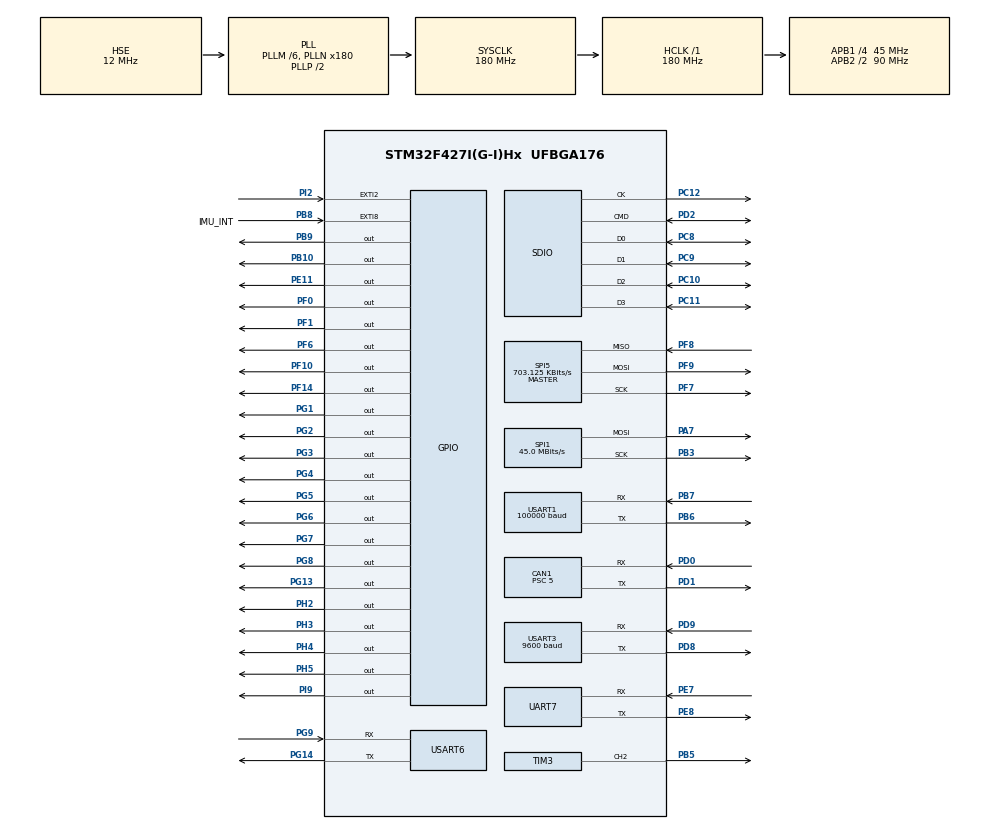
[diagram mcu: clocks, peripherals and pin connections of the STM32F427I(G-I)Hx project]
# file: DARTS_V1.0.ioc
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CAN1.ABOM=ENABLE
CAN1.BS1=CAN_BS1_3TQ
CAN1.BS2=CAN_BS2_5TQ
CAN1.CalculateBaudRate=1000000
CAN1.CalculateTimeBit=1000
CAN1.CalculateTimeQuantum=111.11111111111111
CAN1.Prescaler=5
Dma.Request0=USART1_RX
Dma.Request1=UART7_TX
Dma.Request2=SPI1_TX
Dma.Request3=SPI5_RX
Dma.Request4=SPI5_TX
Dma.SPI1_TX.2.Direction=DMA_MEMORY_TO_PERIPH
Dma.SPI1_TX.2.FIFOMode=DMA_FIFOMODE_DISABLE
Dma.SPI1_TX.2.Instance=DMA2_Stream5
Dma.SPI1_TX.2.MemDataAlignment=DMA_MDATAALIGN_BYTE
Dma.SPI1_TX.2.MemInc=DMA_MINC_ENABLE
Dma.SPI1_TX.2.Mode=DMA_NORMAL
Dma.SPI1_TX.2.PeriphDataAlignment=DMA_PDATAALIGN_BYTE
Dma.SPI1_TX.2.PeriphInc=DMA_PINC_DISABLE
Dma.SPI1_TX.2.Priority=DMA_PRIORITY_VERY_HIGH
Dma.SPI5_RX.3.Direction=DMA_PERIPH_TO_MEMORY
Dma.SPI5_RX.3.FIFOMode=DMA_FIFOMODE_DISABLE
Dma.SPI5_RX.3.Instance=DMA2_Stream3
Dma.SPI5_RX.3.MemDataAlignment=DMA_MDATAALIGN_BYTE
Dma.SPI5_RX.3.MemInc=DMA_MINC_ENABLE
Dma.SPI5_RX.3.Mode=DMA_NORMAL
Dma.SPI5_RX.3.PeriphDataAlignment=DMA_PDATAALIGN_BYTE
Dma.SPI5_RX.3.PeriphInc=DMA_PINC_DISABLE
Dma.SPI5_RX.3.Priority=DMA_PRIORITY_VERY_HIGH
Dma.SPI5_TX.4.Direction=DMA_MEMORY_TO_PERIPH
Dma.SPI5_TX.4.FIFOMode=DMA_FIFOMODE_DISABLE
Dma.SPI5_TX.4.Instance=DMA2_Stream4
Dma.SPI5_TX.4.MemDataAlignment=DMA_MDATAALIGN_BYTE
Dma.SPI5_TX.4.MemInc=DMA_MINC_ENABLE
Dma.SPI5_TX.4.Mode=DMA_NORMAL
Dma.SPI5_TX.4.PeriphDataAlignment=DMA_PDATAALIGN_BYTE
Dma.SPI5_TX.4.PeriphInc=DMA_PINC_DISABLE
Dma.SPI5_TX.4.Priority=DMA_PRIORITY_VERY_HIGH
Dma.UART7_TX.1.Direction=DMA_MEMORY_TO_PERIPH
Dma.UART7_TX.1.FIFOMode=DMA_FIFOMODE_DISABLE
Dma.UART7_TX.1.Instance=DMA1_Stream1
Dma.UART7_TX.1.MemDataAlignment=DMA_MDATAALIGN_BYTE
Dma.UART7_TX.1.MemInc=DMA_MINC_ENABLE
Dma.UART7_TX.1.Mode=DMA_NORMAL
Dma.UART7_TX.1.PeriphDataAlignment=DMA_PDATAALIGN_BYTE
Dma.UART7_TX.1.PeriphInc=DMA_PINC_DISABLE
Dma.UART7_TX.1.Priority=DMA_PRIORITY_VERY_HIGH
Dma.USART1_RX.0.Direction=DMA_PERIPH_TO_MEMORY
Dma.USART1_RX.0.FIFOMode=DMA_FIFOMODE_DISABLE
Dma.USART1_RX.0.Instance=DMA2_Stream2
Dma.USART1_RX.0.MemDataAlignment=DMA_MDATAALIGN_BYTE
Dma.USART1_RX.0.MemInc=DMA_MINC_ENABLE
Dma.USART1_RX.0.Mode=DMA_NORMAL
Dma.USART1_RX.0.PeriphDataAlignment=DMA_PDATAALIGN_BYTE
Dma.USART1_RX.0.PeriphInc=DMA_PINC_DISABLE
Dma.USART1_RX.0.Priority=DMA_PRIORITY_HIGH
FATFS._FS_REENTRANT=0
FATFS._USE_LFN=2
FREERTOS.INCLUDE_eTaskGetState=1
FREERTOS.INCLUDE_pcTaskGetTaskName=1
FREERTOS.INCLUDE_uxTaskGetStackHighWaterMark=1
FREERTOS.INCLUDE_vTaskCleanUpResources=1
FREERTOS.INCLUDE_vTaskDelayUntil=1
FREERTOS.INCLUDE_xQueueGetMutexHolder=1
FREERTOS.INCLUDE_xSemaphoreGetMutexHolder=1
FREERTOS.INCLUDE_xTaskAbortDelay=1
FREERTOS.INCLUDE_xTaskGetCurrentTaskHandle=1
FREERTOS.INCLUDE_xTaskGetHandle=1
FREERTOS.Tasks01=debugTask,0,512,StartdebugTask,As weak,NULL,Dynamic,NULL,NULL;motor_task,-2,512,Startmotor_task,As weak,NULL,Dynamic,NULL,NULL
FREERTOS.configTOTAL_HEAP_SIZE=24576
FREERTOS.configUSE_TIMERS=1
Mcu.Family=STM32F4
Mcu.Name=STM32F427I(G-I)Hx
Mcu.Package=UFBGA176
NVIC.CAN1_RX0_IRQn=true\:5\:0\:false\:false\:true\:true\:true\:true\:true
NVIC.CAN1_TX_IRQn=true\:5\:0\:false\:false\:true\:true\:true\:true\:true
NVIC.DMA1_Stream1_IRQn=true\:5\:0\:false\:false\:true\:true\:false\:true\:true
NVIC.DMA2_Stream2_IRQn=true\:5\:0\:false\:false\:true\:true\:false\:true\:true
NVIC.DMA2_Stream3_IRQn=true\:5\:0\:false\:false\:true\:true\:false\:true\:true
NVIC.DMA2_Stream4_IRQn=true\:5\:0\:false\:false\:true\:true\:false\:true\:true
NVIC.DMA2_Stream5_IRQn=true\:5\:0\:false\:false\:true\:true\:false\:true\:true
NVIC.EXTI2_IRQn=true\:5\:0\:false\:false\:true\:true\:true\:true\:true
NVIC.EXTI9_5_IRQn=true\:5\:0\:false\:false\:true\:true\:true\:true\:true
NVIC.PriorityGroup=NVIC_PRIORITYGROUP_4
NVIC.SDIO_IRQn=true\:5\:0\:false\:false\:true\:true\:true\:true\:true
NVIC.TIM2_IRQn=true\:15\:0\:false\:false\:true\:false\:false\:true\:true
NVIC.TimeBase=TIM2_IRQn
NVIC.TimeBaseIP=TIM2
NVIC.UART7_IRQn=true\:5\:0\:false\:false\:true\:true\:true\:true\:true
NVIC.USART1_IRQn=true\:5\:0\:false\:false\:true\:true\:true\:true\:true
NVIC.USART3_IRQn=true\:5\:0\:false\:false\:true\:true\:true\:true\:true
NVIC.USART6_IRQn=true\:5\:0\:false\:false\:true\:true\:true\:true\:true
PA13.Mode=Serial_Wire
PA13.Signal=SYS_JTMS-SWDIO
PA14.Mode=Serial_Wire
PA14.Signal=SYS_JTCK-SWCLK
PA7.Mode=TX_Only_Simplex_Unidirect_Master
PA7.Signal=SPI1_MOSI
PB10.Signal=GPIO_Output
PB3.Mode=TX_Only_Simplex_Unidirect_Master
PB3.Signal=SPI1_SCK
PB5.GPIO_PuPd=GPIO_PULLUP
PB5.GPIO_Speed=GPIO_SPEED_FREQ_HIGH
PB5.Signal=S_TIM3_CH2
PB6.Mode=Asynchronous
PB6.Signal=USART1_TX
PB7.Mode=Asynchronous
PB7.Signal=USART1_RX
PB8.GPIO_Label=IMU_INT
PB8.Signal=GPXTI8
PB9.Signal=GPIO_Output
PC10.Mode=SD_4_bits_Wide_bus
PC10.Signal=SDIO_D2
PC11.Mode=SD_4_bits_Wide_bus
PC11.Signal=SDIO_D3
PC12.Mode=SD_4_bits_Wide_bus
PC12.Signal=SDIO_CK
PC8.Mode=SD_4_bits_Wide_bus
PC8.Signal=SDIO_D0
PC9.Mode=SD_4_bits_Wide_bus
PC9.Signal=SDIO_D1
PD0.Mode=CAN_Activate
PD0.Signal=CAN1_RX
PD1.Mode=CAN_Activate
PD1.Signal=CAN1_TX
PD2.Mode=SD_4_bits_Wide_bus
PD2.Signal=SDIO_CMD
PD8.Mode=Asynchronous
PD8.Signal=USART3_TX
PD9.Mode=Asynchronous
PD9.Signal=USART3_RX
PE11.Signal=GPIO_Output
PE7.GPIO_PuPd=GPIO_PULLUP
PE7.Mode=Asynchronous
PE7.Signal=UART7_RX
PE8.GPIO_PuPd=GPIO_PULLUP
PE8.Mode=Asynchronous
PE8.Signal=UART7_TX
PF0.Signal=GPIO_Output
PF1.Signal=GPIO_Output
PF10.GPIO_ModeDefaultOutputPP=GPIO_MODE_OUTPUT_OD
PF10.Signal=GPIO_Output
PF14.Signal=GPIO_Output
PF6.Signal=GPIO_Output
PF7.Mode=Full_Duplex_Master
PF7.Signal=SPI5_SCK
PF8.Mode=Full_Duplex_Master
PF8.Signal=SPI5_MISO
PF9.Mode=Full_Duplex_Master
PF9.Signal=SPI5_MOSI
PG1.Signal=GPIO_Output
PG13.PinState=GPIO_PIN_SET
PG13.Signal=GPIO_Output
PG14.Mode=Asynchronous
PG14.Signal=USART6_TX
PG2.Signal=GPIO_Output
PG3.Signal=GPIO_Output
PG4.Signal=GPIO_Output
PG5.Signal=GPIO_Output
PG6.Signal=GPIO_Output
PG7.Signal=GPIO_Output
PG8.Signal=GPIO_Output
PG9.Mode=Asynchronous
PG9.Signal=USART6_RX
PH0/OSC_IN.Mode=HSE-External-Oscillator
PH0/OSC_IN.Signal=RCC_OSC_IN
PH1/OSC_OUT.Mode=HSE-External-Oscillator
PH1/OSC_OUT.Signal=RCC_OSC_OUT
PH2.Signal=GPIO_Output
PH3.Signal=GPIO_Output
PH4.Signal=GPIO_Output
PH5.Signal=GPIO_Output
PI2.GPIO_ModeDefaultEXTI=GPIO_MODE_IT_RISING_FALLING
PI2.GPIO_PuPd=GPIO_PULLUP
PI2.Signal=GPXTI2
PI9.GPIO_ModeDefaultOutputPP=GPIO_MODE_OUTPUT_OD
PI9.Signal=GPIO_Output
ProjectManager.HeapSize=0x200
ProjectManager.StackSize=0x400
ProjectManager.TargetToolchain=MDK-ARM V5.32
RCC.48MHZClocksFreq_Value=45000000
RCC.AHBFreq_Value=180000000
RCC.APB1CLKDivider=RCC_HCLK_DIV4
RCC.APB1Freq_Value=45000000
RCC.APB1TimFreq_Value=90000000
RCC.APB2CLKDivider=RCC_HCLK_DIV2
RCC.APB2Freq_Value=90000000
RCC.APB2TimFreq_Value=180000000
RCC.CortexFreq_Value=180000000
RCC.HCLKFreq_Value=180000000
RCC.HSE_VALUE=12000000
RCC.HSI_VALUE=16000000
RCC.LSE_VALUE=32768
RCC.PLLM=6
RCC.PLLN=180
RCC.PLLQ=8
RCC.PLLSourceVirtual=RCC_PLLSOURCE_HSE
RCC.SYSCLKFreq_VALUE=180000000
RCC.SYSCLKSource=RCC_SYSCLKSOURCE_PLLCLK
RCC.VCOOutputFreq_Value=360000000
SH.S_TIM3_CH2.0=TIM3_CH2,PWM Generation2 CH2
SPI1.BaudRatePrescaler=SPI_BAUDRATEPRESCALER_2
SPI1.CalculateBaudRate=45.0 MBits/s
SPI1.Direction=SPI_DIRECTION_2LINES
SPI1.Mode=SPI_MODE_MASTER
SPI1.VirtualType=VM_MASTER
SPI5.BaudRatePrescaler=SPI_BAUDRATEPRESCALER_128
SPI5.CLKPolarity=SPI_POLARITY_LOW
SPI5.CalculateBaudRate=703.125 KBits/s
SPI5.Direction=SPI_DIRECTION_2LINES
SPI5.Mode=SPI_MODE_MASTER
SPI5.VirtualType=VM_MASTER
TIM3.Channel-PWM\ Generation2\ CH2=TIM_CHANNEL_2
TIM3.Period=2000-1
TIM3.Prescaler=90-1
UART7.VirtualMode=Asynchronous
USART1.BaudRate=100000
USART1.VirtualMode=VM_ASYNC
USART3.BaudRate=9600
USART3.VirtualMode=VM_ASYNC
USART6.VirtualMode=VM_ASYNC
VP_FATFS_VS_SDIO.Mode=SDIO
VP_FREERTOS_VS_CMSIS_V1.Mode=CMSIS_V1
VP_SYS_VS_tim2.Mode=TIM2
board=custom

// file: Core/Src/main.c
/* USER CODE BEGIN Header */
/**
  ******************************************************************************
  * @file           : main.c
  * @brief          : Main program body
  ******************************************************************************
  * @attention
  *
  * <h2><center>&copy; Copyright (c) 2021 STMicroelectronics.
  * All rights reserved.</center></h2>
  *
  * This software component is licensed by ST under Ultimate Liberty license
  * SLA0044, the "License"; You may not use this file except in compliance with
  * the License. You may obtain a copy of the License at:
  *                             www.st.com/SLA0044
  *
  ******************************************************************************
  */
/* USER CODE END Header */
#include "main.h"
#include "cmsis_os.h"
#include "can.h"
#include "dma.h"
#include "sdio.h"
#include "spi.h"
#include "tim.h"
#include "usart.h"
#include "gpio.h"

/* USER CODE BEGIN Includes */
#include "bsp_can.h"
#include "bsp_usart.h"
#include "bsp_dubs.h"
#include "bsp_io.h"
#include "bsp_imu.h"
#include "bsp_dwt.h"
/* USER CODE END Includes */

void SystemClock_Config(void);
void MX_FREERTOS_Init(void);

int main(void)
{

  /* MCU Configuration--------------------------------------------------------*/

  /* Reset of all peripherals, Initializes the Flash interface and the Systick. */
  HAL_Init();

  /* Configure the system clock */
  SystemClock_Config();

  /* Initialize all configured peripherals */
  MX_GPIO_Init();
  MX_DMA_Init();
  MX_CAN1_Init();
  MX_USART1_UART_Init();
  MX_USART6_UART_Init();
  MX_UART7_Init();
  MX_SPI1_Init();
  MX_SPI5_Init();
  MX_TIM3_Init();
  MX_USART3_UART_Init();
  MX_SDIO_SD_Init();
  /* USER CODE BEGIN 2 */
  USART_DMA_Enable(&huart1,&hdma_usart1_rx,usart1_rx_buffer,15);
  USART_Enable(&huart6,usart6_rx_buffer,1);
  USART_Enable(&huart7,&usart7_rx_buffer,1);
  USART_Enable(&huart3,usart3_rx_buffer,11);
  CAN_Enable(&hcan1);
  dubs_data_init();
  io_init();
  DWT_Init(180);
  mpu_device_init(&hspi5, 1);

  /* USER CODE END 2 */

  /* Call init function for freertos objects (in freertos.c) */
  MX_FREERTOS_Init();

  /* Start scheduler */
  osKernelStart();
  /* We should never get here as control is now taken by the scheduler */
  /* Infinite loop */
  while (1)
  {

  }
}

void SystemClock_Config(void)
{
  RCC_OscInitTypeDef RCC_OscInitStruct = {0};
  RCC_ClkInitTypeDef RCC_ClkInitStruct = {0};

  /** Configure the main internal regulator output voltage
  */
  __HAL_RCC_PWR_CLK_ENABLE();
  __HAL_PWR_VOLTAGESCALING_CONFIG(PWR_REGULATOR_VOLTAGE_SCALE1);

  /** Initializes the RCC Oscillators according to the specified parameters
  * in the RCC_OscInitTypeDef structure.
  */
  RCC_OscInitStruct.OscillatorType = RCC_OSCILLATORTYPE_HSE;
  RCC_OscInitStruct.HSEState = RCC_HSE_ON;
  RCC_OscInitStruct.PLL.PLLState = RCC_PLL_ON;
  RCC_OscInitStruct.PLL.PLLSource = RCC_PLLSOURCE_HSE;
  RCC_OscInitStruct.PLL.PLLM = 6;
  RCC_OscInitStruct.PLL.PLLN = 180;
  RCC_OscInitStruct.PLL.PLLP = RCC_PLLP_DIV2;
  RCC_OscInitStruct.PLL.PLLQ = 8;
  if (HAL_RCC_OscConfig(&RCC_OscInitStruct) != HAL_OK)
  {
    Error_Handler();
  }

  /** Activate the Over-Drive mode
  */
  if (HAL_PWREx_EnableOverDrive() != HAL_OK)
  {
    Error_Handler();
  }

  /** Initializes the CPU, AHB and APB buses clocks
  */
  RCC_ClkInitStruct.ClockType = RCC_CLOCKTYPE_HCLK|RCC_CLOCKTYPE_SYSCLK
                              |RCC_CLOCKTYPE_PCLK1|RCC_CLOCKTYPE_PCLK2;
  RCC_ClkInitStruct.SYSCLKSource = RCC_SYSCLKSOURCE_PLLCLK;
  RCC_ClkInitStruct.AHBCLKDivider = RCC_SYSCLK_DIV1;
  RCC_ClkInitStruct.APB1CLKDivider = RCC_HCLK_DIV4;
  RCC_ClkInitStruct.APB2CLKDivider = RCC_HCLK_DIV2;

  if (HAL_RCC_ClockConfig(&RCC_ClkInitStruct, FLASH_LATENCY_5) != HAL_OK)
  {
    Error_Handler();
  }
}

void HAL_TIM_PeriodElapsedCallback(TIM_HandleTypeDef *htim)
{
  if (htim->Instance == TIM2) {
    HAL_IncTick();
  }
}

void Error_Handler(void)
{
}

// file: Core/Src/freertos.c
/* USER CODE BEGIN Header */
/**
  ******************************************************************************
  * File Name          : freertos.c
  * Description        : Code for freertos applications
  ******************************************************************************
  * @attention
  *
  * <h2><center>&copy; Copyright (c) 2021 STMicroelectronics.
  * All rights reserved.</center></h2>
  *
  * This software component is licensed by ST under Ultimate Liberty license
  * SLA0044, the "License"; You may not use this file except in compliance with
  * the License. You may obtain a copy of the License at:
  *                             www.st.com/SLA0044
  *
  ******************************************************************************
  */
/* USER CODE END Header */

#include "FreeRTOS.h"
#include "task.h"
#include "main.h"
#include "cmsis_os.h"

osThreadId debugTaskHandle;
osThreadId motor_taskHandle;

void StartdebugTask(void const * argument);
void Startmotor_task(void const * argument);

void MX_FREERTOS_Init(void); /* (MISRA C 2004 rule 8.1) */

/* GetIdleTaskMemory prototype (linked to static allocation support) */
void vApplicationGetIdleTaskMemory( StaticTask_t **ppxIdleTaskTCBBuffer, StackType_t **ppxIdleTaskStackBuffer, uint32_t *pulIdleTaskStackSize );

/* GetTimerTaskMemory prototype (linked to static allocation support) */
void vApplicationGetTimerTaskMemory( StaticTask_t **ppxTimerTaskTCBBuffer, StackType_t **ppxTimerTaskStackBuffer, uint32_t *pulTimerTaskStackSize );

/* USER CODE BEGIN GET_IDLE_TASK_MEMORY */
static StaticTask_t xIdleTaskTCBBuffer;
static StackType_t xIdleStack[configMINIMAL_STACK_SIZE];

void vApplicationGetIdleTaskMemory( StaticTask_t **ppxIdleTaskTCBBuffer, StackType_t **ppxIdleTaskStackBuffer, uint32_t *pulIdleTaskStackSize )
{
  *ppxIdleTaskTCBBuffer = &xIdleTaskTCBBuffer;
  *ppxIdleTaskStackBuffer = &xIdleStack[0];
  *pulIdleTaskStackSize = configMINIMAL_STACK_SIZE;
  /* place for user code */
}
/* USER CODE END GET_IDLE_TASK_MEMORY */

/* USER CODE BEGIN GET_TIMER_TASK_MEMORY */
static StaticTask_t xTimerTaskTCBBuffer;
static StackType_t xTimerStack[configTIMER_TASK_STACK_DEPTH];

void vApplicationGetTimerTaskMemory( StaticTask_t **ppxTimerTaskTCBBuffer, StackType_t **ppxTimerTaskStackBuffer, uint32_t *pulTimerTaskStackSize )
{
  *ppxTimerTaskTCBBuffer = &xTimerTaskTCBBuffer;
  *ppxTimerTaskStackBuffer = &xTimerStack[0];
  *pulTimerTaskStackSize = configTIMER_TASK_STACK_DEPTH;
  /* place for user code */
}
/* USER CODE END GET_TIMER_TASK_MEMORY */

void MX_FREERTOS_Init(void) {

  /* Create the thread(s) */
  /* definition and creation of debugTask */
  osThreadDef(debugTask, StartdebugTask, osPriorityNormal, 0, 512);
  debugTaskHandle = osThreadCreate(osThread(debugTask), NULL);

  /* definition and creation of motor_task */
  osThreadDef(motor_task, Startmotor_task, osPriorityLow, 0, 512);
  motor_taskHandle = osThreadCreate(osThread(motor_task), NULL);

}

__weak void StartdebugTask(void const * argument)
{
  for(;;)
  {
    osDelay(1);
  }
}

__weak void Startmotor_task(void const * argument)
{
  for(;;)
  {
    osDelay(1);
  }
}
